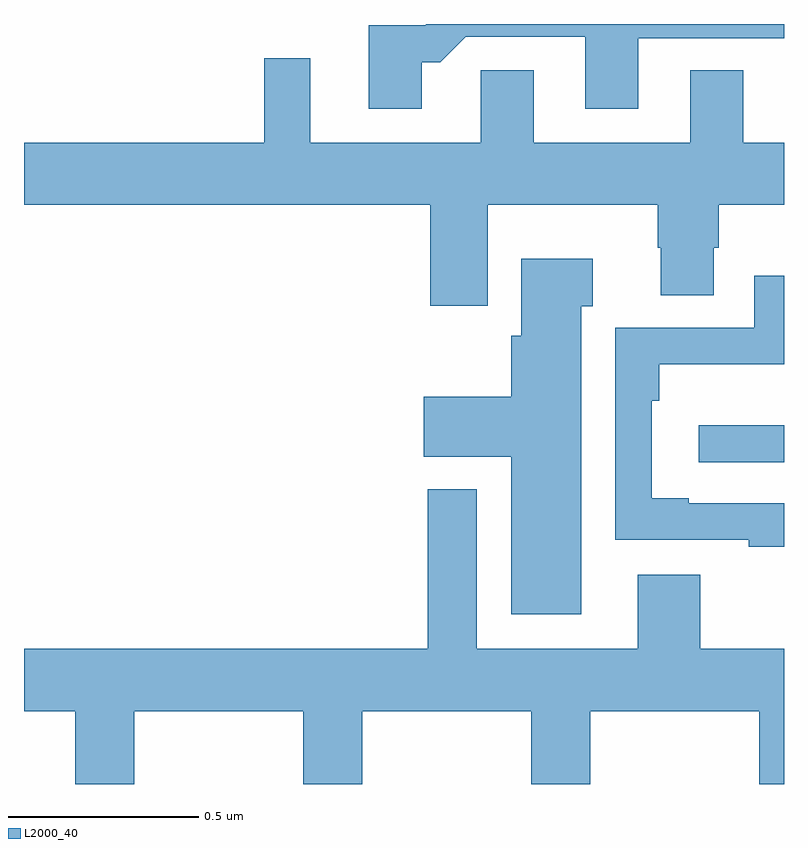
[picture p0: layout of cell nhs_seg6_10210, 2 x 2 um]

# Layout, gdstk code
import gdstk
lib = gdstk.Library(unit=1e-6, precision=1e-09)
def R(c, l, rs):  # rectangles x0, y0, x1, y1
    for r in rs: c.add(gdstk.rectangle(r[:2], r[2:], *l))
def P(c, l, *ps):  # polygons
    for p in ps: c.add(gdstk.Polygon(p, *l))
L2000_40 = (2000, 40)

nhs_seg6_10210 = lib.new_cell('nhs_seg6_10210')
R(nhs_seg6_10210, L2000_40, [(245.775,925.347,246,925.444)])
P(nhs_seg6_10210, L2000_40, [(245.047,926.399),(245.096,926.399),(245.163,926.466),(245.477,926.466),(245.477,926.277),(245.617,926.277),(245.617,926.463),(246,926.463),(246,926.5),(245.059,926.5),(245.056,926.497),(244.907,926.497),(244.907,926.277),(245.047,926.277)],
  [(245.753,926.188),(245.341,926.188),(245.341,926.378),(245.202,926.378),(245.202,926.188),(244.753,926.188),(244.753,926.41),(244.632,926.41),(244.632,926.188),(244,926.188),(244,926.024),(245.069,926.024),(245.069,925.758),(245.221,925.758),(245.221,926.024),(245.668,926.024),(245.668,925.911),(245.675,925.911),(245.675,925.786),(245.815,925.786),(245.815,925.911),(245.828,925.911),(245.828,926.024),(246,926.024),(246,926.188),(245.893,926.188),(245.893,926.378),(245.753,926.378)],
  [(245.467,925.757),(245.497,925.757),(245.497,925.882),(245.309,925.882),(245.309,925.68),(245.282,925.68),(245.282,925.519),(245.052,925.519),(245.052,925.361),(245.282,925.361),(245.282,924.947),(245.467,924.947)],
  [(246,925.239),(245.749,925.239),(245.749,925.252),(245.652,925.252),(245.652,925.508),(245.672,925.508),(245.672,925.604),(246,925.604),(246,925.838),(245.922,925.838),(245.922,925.701),(245.556,925.701),(245.556,925.143),(245.907,925.143),(245.907,925.124),(246,925.124)],
  [(244.29,924.692),(244.735,924.692),(244.735,924.5),(244.89,924.5),(244.89,924.692),(245.335,924.692),(245.335,924.5),(245.49,924.5),(245.49,924.692),(245.935,924.692),(245.935,924.5),(246,924.5),(246,924.856),(245.779,924.856),(245.779,925.051),(245.615,925.051),(245.615,924.856),(245.191,924.856),(245.191,925.276),(245.063,925.276),(245.063,924.856),(244,924.856),(244,924.692),(244.135,924.692),(244.135,924.5),(244.29,924.5)])

lib.write_gds('nhs_seg6_10210.gds')
